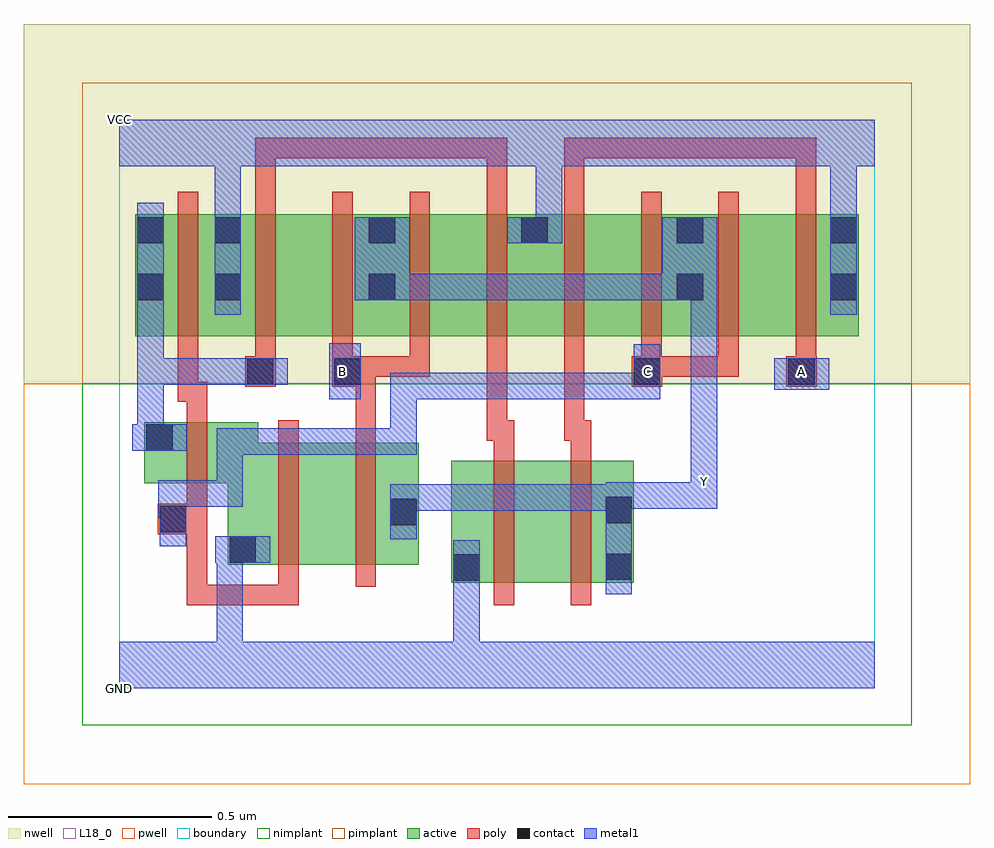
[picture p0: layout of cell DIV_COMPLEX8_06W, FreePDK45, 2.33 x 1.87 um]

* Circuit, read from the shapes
.subckt DIV_COMPLEX8_06W A B C GND VCC Y
M1 GND C n1 VSUBS nfet w=0.15u l=0.05u
M2 n2 C GND VSUBS nfet w=0.3u l=0.05u
M3 Y B n2 VSUBS nfet w=0.3u l=0.05u
M4 n3 n1 GND VSUBS nfet w=0.3u l=0.05u
M5 Y A n3 VSUBS nfet w=0.3u l=0.05u
M6 VCC C n1 n4 pfet w=0.3u l=0.05u
M7 n5 n1 VCC n4 pfet w=0.3u l=0.05u
M8 Y B n5 n4 pfet w=0.3u l=0.05u
M9 n6 B Y n4 pfet w=0.3u l=0.05u
M10 VCC n1 n6 n4 pfet w=0.3u l=0.05u
M11 n7 A VCC n4 pfet w=0.3u l=0.05u
M12 Y C n7 n4 pfet w=0.3u l=0.05u
M13 n8 C Y n4 pfet w=0.3u l=0.05u
M14 VCC A n8 n4 pfet w=0.3u l=0.05u
.ends

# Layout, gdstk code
import gdstk
lib = gdstk.Library(unit=1e-6, precision=1e-09)
def R(c, l, rs):  # rectangles x0, y0, x1, y1
    for r in rs: c.add(gdstk.rectangle(r[:2], r[2:], *l))
def A(c, l, x, y, w, h, nx, ny, dx, dy):  # array of equal rectangles
    R(c, l, [(x+i*dx, y+j*dy, x+i*dx+w, y+j*dy+h) for i in range(nx) for j in range(ny)])
active = (1, 0)
pwell = (2, 0)
nwell = (3, 0)
nimplant = (4, 0)
pimplant = (5, 0)
poly = (9, 0)
contact = (10, 0)
metal1 = (11, 0)
L18_0 = (18, 0)
boundary = (235, 0)

div_complex8_06w = lib.new_cell('DIV_COMPLEX8_06W')
R(div_complex8_06w, active, [(0.817,0.26,0.892,0.56), (0.817,0.26,1.042,0.56), (1.042,0.26,1.267,0.56), (1.192,0.26,1.267,0.56), (0.267,0.305,0.512,0.605), (0.267,0.305,0.342,0.55), (0.512,0.305,0.737,0.605), (0.662,0.305,0.737,0.605), (0.062,0.505,0.342,0.655), (0.062,0.545,0.137,0.655), (0.04,0.867,0.305,1.167), (0.04,0.867,0.115,1.165), (0.23,0.867,0.305,1.167), (0.23,0.867,0.455,1.167), (0.455,0.867,0.685,1.167), (0.61,0.867,0.685,1.167), (0.61,0.867,0.835,1.167), (0.835,0.867,1.06,1.167), (0.985,0.867,1.06,1.167), (0.985,0.867,1.215,1.167), (1.215,0.867,1.442,1.167), (1.367,0.867,1.442,1.167), (1.367,0.867,1.595,1.167), (1.595,0.867,1.82,1.167), (1.745,0.867,1.82,1.167)])
R(div_complex8_06w, pwell, [(-0.235,-0.235,2.095,0.75)])
R(div_complex8_06w, nwell, [(-0.235,0.75,2.095,1.635)])
R(div_complex8_06w, nimplant, [(-0.09,-0.09,1.95,0.75)])
R(div_complex8_06w, pimplant, [(-0.09,0.75,1.95,1.49)])
A(div_complex8_06w, poly, 0.335, 0.767, 0.05, 0.095, 3, 1, 0.19, 0)
A(div_complex8_06w, poly, 1.285, 0.767, 0.05, 0.095, 3, 1, 0.19, 0)
A(div_complex8_06w, poly, 0.145, 0.812, 0.05, 0.41, 9, 1, 0.19, 0)
R(div_complex8_06w, poly, [(0.167,0.205,0.217,0.255), (0.167,0.205,0.442,0.255), (0.167,0.205,0.217,0.43), (0.392,0.205,0.442,0.255), (0.392,0.205,0.442,0.255), (0.392,0.205,0.442,0.255), (0.392,0.205,0.442,0.3), (0.922,0.205,0.972,0.615), (1.112,0.205,1.162,0.615), (0.392,0.25,0.442,0.66), (0.582,0.25,0.632,0.66), (0.095,0.38,0.217,0.455), (0.167,0.405,0.217,0.5), (0.167,0.45,0.217,0.71), (0.922,0.565,0.972,0.66), (1.112,0.565,1.162,0.66), (0.582,0.61,0.632,0.792), (0.905,0.61,0.955,0.862), (0.905,0.61,0.972,0.66), (1.095,0.61,1.145,0.862), (1.095,0.61,1.162,0.66), (0.167,0.66,0.217,0.755), (0.145,0.705,0.195,0.862), (0.145,0.705,0.217,0.755), (0.31,0.742,0.385,0.817), (0.525,0.742,0.632,0.817), (1.262,0.742,1.337,0.817), (1.642,0.742,1.717,0.817), (0.582,0.767,0.765,0.817), (0.715,0.767,0.765,0.817), (0.715,0.767,0.765,0.817), (0.715,0.767,0.765,0.817), (1.287,0.767,1.525,0.817), (1.475,0.767,1.525,0.817), (1.475,0.767,1.525,0.817), (1.475,0.767,1.525,0.817), (0.335,1.172,0.385,1.355), (0.905,1.172,0.955,1.355), (1.095,1.172,1.145,1.355), (1.665,1.172,1.715,1.355), (0.335,1.305,0.385,1.355), (0.335,1.305,0.632,1.355), (0.582,1.305,0.632,1.355), (0.582,1.305,0.632,1.355), (0.582,1.305,0.632,1.355), (0.582,1.305,0.765,1.355), (0.715,1.305,0.765,1.355), (0.715,1.305,0.765,1.355), (0.715,1.305,0.765,1.355), (0.715,1.305,0.955,1.355), (0.905,1.305,0.955,1.355), (0.905,1.305,0.955,1.355), (0.905,1.305,0.955,1.355), (1.095,1.305,1.145,1.355), (1.095,1.305,1.145,1.355), (1.095,1.305,1.145,1.355), (1.095,1.305,1.392,1.355), (1.342,1.305,1.392,1.355), (1.342,1.305,1.392,1.355), (1.342,1.305,1.392,1.355), (1.342,1.305,1.545,1.355), (1.495,1.305,1.545,1.355), (1.495,1.305,1.715,1.355), (1.665,1.305,1.715,1.355), (1.665,1.305,1.715,1.355), (1.665,1.305,1.715,1.355)])
R(div_complex8_06w, contact, [(0.822,0.265,0.887,0.33), (1.197,0.267,1.262,0.332), (0.272,0.31,0.337,0.375), (0.1,0.385,0.165,0.45), (0.667,0.402,0.732,0.467), (1.197,0.407,1.262,0.472), (0.067,0.585,0.132,0.65), (0.315,0.747,0.38,0.812), (0.53,0.747,0.595,0.812), (1.267,0.747,1.332,0.812), (1.647,0.747,1.712,0.812), (0.045,0.955,0.11,1.02), (0.235,0.955,0.3,1.02), (0.615,0.955,0.68,1.02), (1.372,0.955,1.437,1.02), (1.75,0.955,1.815,1.02), (0.045,1.095,0.11,1.16), (0.235,1.095,0.3,1.16), (0.615,1.095,0.68,1.16), (0.99,1.095,1.055,1.16), (1.372,1.095,1.437,1.16), (1.75,1.095,1.815,1.16)])
R(div_complex8_06w, metal1, [(0,0,1.86,0.115), (0.24,0.05,0.305,0.115), (0.24,0.05,0.305,0.115), (0.24,0.05,0.305,0.115), (0.24,0.05,0.305,0.115), (0.24,0.05,0.305,0.375), (0.822,0.05,0.887,0.282), (0.822,0.217,0.887,0.282), (0.822,0.217,0.887,0.282), (0.822,0.217,0.887,0.282), (0.822,0.217,0.887,0.295), (0.822,0.23,0.887,0.365), (1.197,0.232,1.262,0.507), (0.237,0.31,0.372,0.375), (0.1,0.35,0.165,0.485), (0.667,0.367,0.732,0.502), (0.097,0.42,0.162,0.485), (0.097,0.42,0.165,0.485), (0.097,0.42,0.162,0.512), (0.667,0.437,0.87,0.502), (0.805,0.437,0.87,0.502), (0.805,0.437,0.87,0.502), (0.805,0.437,0.87,0.502), (0.805,0.437,0.87,0.502), (0.805,0.437,0.87,0.502), (0.805,0.437,1.057,0.502), (0.992,0.437,1.057,0.502), (0.992,0.437,1.057,0.502), (0.992,0.437,1.057,0.502), (0.992,0.437,1.195,0.502), (1.13,0.437,1.195,0.502), (1.13,0.437,1.262,0.502), (1.197,0.442,1.472,0.507), (1.407,0.442,1.472,0.507), (1.407,0.442,1.472,0.507), (1.407,0.442,1.472,0.507), (1.407,0.442,1.472,0.507), (1.407,0.442,1.472,0.577), (0.097,0.447,0.162,0.512), (0.097,0.447,0.162,0.512), (0.097,0.447,0.162,0.512), (0.097,0.447,0.305,0.512), (0.24,0.447,0.305,0.512), (0.24,0.447,0.305,0.64), (1.407,0.512,1.472,1.02), (0.24,0.575,0.305,0.64), (0.24,0.575,0.442,0.64), (0.377,0.575,0.442,0.64), (0.377,0.575,0.442,0.64), (0.377,0.575,0.442,0.64), (0.377,0.575,0.732,0.64), (0.667,0.575,0.732,0.64), (0.667,0.575,0.732,0.64), (0.667,0.575,0.732,0.64), (0.667,0.575,0.732,0.777), (0.032,0.585,0.167,0.65), (0.045,0.585,0.11,0.812), (0.517,0.712,0.595,0.85), (0.667,0.712,0.732,0.777), (0.667,0.712,0.87,0.777), (0.805,0.712,0.87,0.777), (0.805,0.712,0.87,0.777), (0.805,0.712,0.87,0.777), (0.805,0.712,1.057,0.777), (0.992,0.712,1.057,0.777), (0.992,0.712,1.057,0.777), (0.992,0.712,1.057,0.777), (0.992,0.712,1.195,0.777), (1.13,0.712,1.195,0.777), (1.13,0.712,1.195,0.777), (1.13,0.712,1.195,0.777), (1.13,0.712,1.332,0.777), (1.267,0.712,1.332,0.847), (1.612,0.735,1.747,0.812), (0.045,0.747,0.11,0.812), (0.045,0.747,0.11,0.812), (0.045,0.747,0.11,0.812), (0.045,0.747,0.305,0.812), (0.045,0.747,0.11,0.985), (0.24,0.747,0.305,0.812), (0.24,0.747,0.345,0.812), (0.28,0.747,0.415,0.812), (0.045,0.92,0.11,1.195), (0.235,0.92,0.3,1.195), (1.75,0.92,1.815,1.195), (0.58,0.955,0.715,1.16), (0.65,0.955,0.87,1.02), (0.805,0.955,0.87,1.02), (0.805,0.955,0.87,1.02), (0.805,0.955,0.87,1.02), (0.805,0.955,1.057,1.02), (0.992,0.955,1.057,1.02), (0.992,0.955,1.057,1.02), (0.992,0.955,1.057,1.02), (0.992,0.955,1.195,1.02), (1.13,0.955,1.195,1.02), (1.13,0.955,1.195,1.02), (1.13,0.955,1.195,1.02), (1.13,0.955,1.402,1.02), (1.337,0.955,1.402,1.02), (1.337,0.955,1.402,1.02), (1.337,0.955,1.472,1.16), (0.955,1.095,1.09,1.16), (1.025,1.095,1.09,1.35), (0.235,1.13,0.3,1.35), (0.235,1.13,0.3,1.195), (0.235,1.13,0.3,1.195), (1.75,1.13,1.815,1.35), (0,1.285,1.86,1.4), (1.025,1.285,1.09,1.35), (1.025,1.285,1.09,1.35), (1.75,1.285,1.815,1.35), (1.75,1.285,1.815,1.35)])
R(div_complex8_06w, L18_0, [(0,0,1.86,0.115), (0.24,0.05,0.305,0.115), (0.24,0.05,0.305,0.115), (0.24,0.05,0.305,0.115), (0.24,0.05,0.305,0.115), (0.24,0.05,0.305,0.375), (0.822,0.05,0.887,0.282), (0.822,0.217,0.887,0.282), (0.822,0.217,0.887,0.282), (0.822,0.217,0.887,0.282), (0.822,0.217,0.887,0.295), (0.822,0.23,0.887,0.365), (1.197,0.232,1.262,0.507), (0.237,0.31,0.372,0.375), (0.1,0.35,0.165,0.485), (0.667,0.367,0.732,0.502), (0.097,0.42,0.162,0.485), (0.097,0.42,0.162,0.512), (0.097,0.42,0.165,0.485), (0.667,0.437,0.87,0.502), (0.805,0.437,0.87,0.502), (0.805,0.437,0.87,0.502), (0.805,0.437,0.87,0.502), (0.805,0.437,0.87,0.502), (0.805,0.437,0.87,0.502), (0.805,0.437,1.057,0.502), (0.992,0.437,1.057,0.502), (0.992,0.437,1.057,0.502), (0.992,0.437,1.057,0.502), (0.992,0.437,1.195,0.502), (1.13,0.437,1.195,0.502), (1.13,0.437,1.262,0.502), (1.197,0.442,1.472,0.507), (1.407,0.442,1.472,0.507), (1.407,0.442,1.472,0.507), (1.407,0.442,1.472,0.507), (1.407,0.442,1.472,0.507), (1.407,0.442,1.472,0.577), (0.097,0.447,0.162,0.512), (0.097,0.447,0.162,0.512), (0.097,0.447,0.162,0.512), (0.097,0.447,0.305,0.512), (0.24,0.447,0.305,0.512), (0.24,0.447,0.305,0.64), (1.407,0.477,1.472,0.542), (1.407,0.512,1.472,1.02), (0.24,0.575,0.305,0.64), (0.24,0.575,0.442,0.64), (0.377,0.575,0.442,0.64), (0.377,0.575,0.442,0.64), (0.377,0.575,0.442,0.64), (0.377,0.575,0.732,0.64), (0.667,0.575,0.732,0.64), (0.667,0.575,0.732,0.64), (0.667,0.575,0.732,0.64), (0.667,0.575,0.732,0.777), (0.517,0.712,0.595,0.85), (0.667,0.712,0.732,0.777), (0.667,0.712,0.87,0.777), (0.805,0.712,0.87,0.777), (0.805,0.712,0.87,0.777), (0.805,0.712,0.87,0.777), (0.805,0.712,1.057,0.777), (0.992,0.712,1.057,0.777), (0.992,0.712,1.057,0.777), (0.992,0.712,1.057,0.777), (0.992,0.712,1.195,0.777), (1.13,0.712,1.195,0.777), (1.13,0.712,1.195,0.777), (1.13,0.712,1.195,0.777), (1.13,0.712,1.332,0.777), (1.267,0.712,1.332,0.847), (1.612,0.735,1.747,0.812), (0.517,0.747,0.582,0.812), (1.267,0.747,1.332,0.812), (1.647,0.747,1.712,0.812), (0.235,0.92,0.3,1.195), (1.75,0.92,1.815,1.195), (0.58,0.955,0.715,1.16), (0.65,0.955,0.87,1.02), (0.805,0.955,0.87,1.02), (0.805,0.955,0.87,1.02), (0.805,0.955,0.87,1.02), (0.805,0.955,1.057,1.02), (0.992,0.955,1.057,1.02), (0.992,0.955,1.057,1.02), (0.992,0.955,1.057,1.02), (0.992,0.955,1.195,1.02), (1.13,0.955,1.195,1.02), (1.13,0.955,1.195,1.02), (1.13,0.955,1.195,1.02), (1.13,0.955,1.402,1.02), (1.337,0.955,1.402,1.02), (1.337,0.955,1.402,1.02), (1.337,0.955,1.472,1.16), (0.955,1.095,1.09,1.16), (1.025,1.095,1.09,1.35), (0.235,1.13,0.3,1.195), (0.235,1.13,0.3,1.195), (0.235,1.13,0.3,1.35), (1.75,1.13,1.815,1.35), (0,1.285,1.86,1.4), (1.025,1.285,1.09,1.35), (1.025,1.285,1.09,1.35), (1.75,1.285,1.815,1.35), (1.75,1.285,1.815,1.35)])
R(div_complex8_06w, boundary, [(0,0,1.86,1.4)])
div_complex8_06w.add(gdstk.Label('A', (1.68,0.78), layer=11, texttype=0))
div_complex8_06w.add(gdstk.Label('B', (0.55,0.78), layer=11, texttype=0))
div_complex8_06w.add(gdstk.Label('C', (1.3,0.78), layer=11, texttype=0))
div_complex8_06w.add(gdstk.Label('Y', (1.44,0.51), layer=11, texttype=0))
div_complex8_06w.add(gdstk.Label('VCC', (0,1.4), layer=11, texttype=0))
div_complex8_06w.add(gdstk.Label('GND', (0,0), layer=11, texttype=0))

lib.write_gds('DIV_COMPLEX8_06W.gds')
